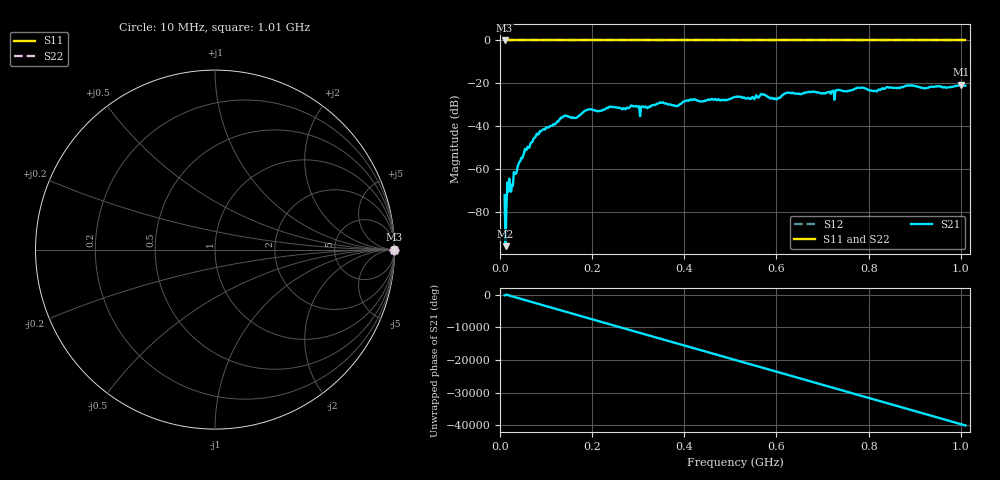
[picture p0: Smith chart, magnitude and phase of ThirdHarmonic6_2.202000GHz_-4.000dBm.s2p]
! 8/17/2025 2:14:28 AM
! C:\ANRITSUVNA\TEMP\TEMP.S2P
! CHANNEL.1
! TR.MEASUREMENT
! RAW.DATA
! RF.CORRECTION.OFF
! AVERAGING.OFF
! IF.BANDWIDTH: 5KHZ
! SWEEPTYPE:  FREQ.SWEEP(Linear)
! Reference Plane Port Info
! PORT:  PORT1  PORT2
! DISTANCE:  0  m  0  m
! TIME:  0  s  0  s
! PHASE.OFFSET:  0  deg.  0  deg.
! LOSS:  0  dB  0  dB
! REF.LOSS:  0  dB  0  dB
! REF.FREQ:  0  Hz  0  Hz
! Power Info
! POWER:  -20  dBm  -20  dBm
! EFF.POWER:  -20  dBm  -20  dBm
! SOURCE.ATTEN:  0  dB  0  dB
! TEST.ATTEN:  0  dB  0  dB
# GHZ S RI R 50.0
! FREQ.GHZ  S11RE  S11IM  S21RE  S21IM  S12RE  S12IM  S22RE  S22IM
!; PortSelection: Port_12
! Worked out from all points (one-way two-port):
!   501 points, 10 MHz to 1.01 GHz, reference 50 ohm
!   highest |S21| = -20.56 dB at 1 GHz (marker M1); lowest = -95.8 dB at 12 MHz (marker M2)
!   lowest |S11| = 0.0 dB at 10 MHz (marker M3)
!   |S11| at or under -10 dB: nowhere
!   |S22| runs from 0.0 to 0.0 dB; largest |S21 - S12| = 1.1
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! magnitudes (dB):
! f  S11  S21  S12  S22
! 10 MHz  0.0  -72.0  0.0  0.0
! 12 MHz  0.0  -95.8  0.0  0.0
! 20 MHz  0.0  -64.3  0.0  0.0
! 26 MHz  0.0  -67.4  0.0  0.0
! 42 MHz  0.0  -56.6  0.0  0.0
! 76 MHz  0.0  -45.2  0.0  0.0
! 136 MHz  0.0  -35.8  0.0  0.0
! 164 MHz  0.0  -36.1  0.0  0.0
! 178 MHz  0.0  -33.9  0.0  0.0
! 242 MHz  0.0  -30.9  0.0  0.0
! 308 MHz  0.0  -30.7  0.0  0.0
! 344 MHz  0.0  -29.3  0.0  0.0
! 384 MHz  0.0  -30.5  0.0  0.0
! 416 MHz  0.0  -27.8  0.0  0.0
! 510 MHz  0.0  -26.3  0.0  0.0
! 570 MHz  0.0  -25.1  0.0  0.0
! 598 MHz  0.0  -27.1  0.0  0.0
! 624 MHz  0.0  -24.4  0.0  0.0
! 678 MHz  0.0  -24.0  0.0  0.0
! 844 MHz  0.0  -22.0  0.0  0.0
! 1 GHz  0.0  -20.6  0.0  0.0
! 1.01 GHz  0.0  -21.1  0.0  0.0
